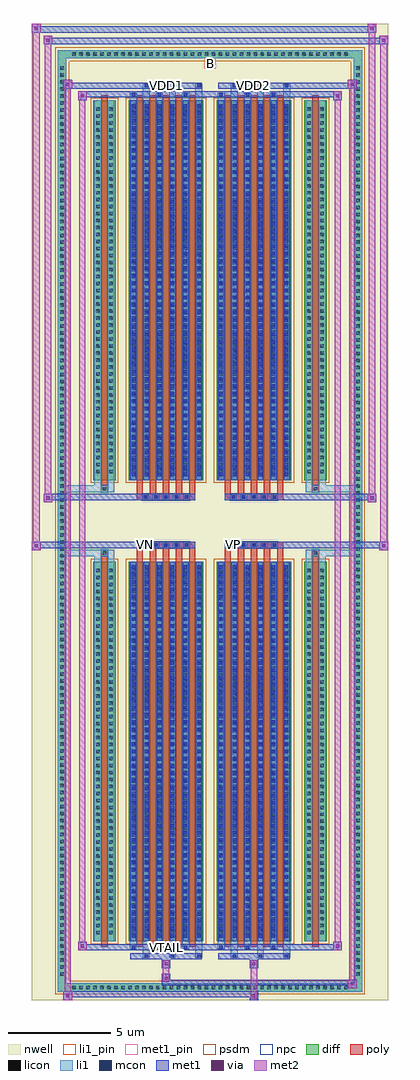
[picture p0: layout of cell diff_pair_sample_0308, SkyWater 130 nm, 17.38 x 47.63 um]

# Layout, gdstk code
import gdstk
lib = gdstk.Library(unit=1e-6, precision=5e-09)
def R(c, l, rs):  # rectangles x0, y0, x1, y1
    for r in rs: c.add(gdstk.rectangle(r[:2], r[2:], *l))
def A(c, l, x, y, w, h, nx, ny, dx, dy):  # array of equal rectangles
    R(c, l, [(x+i*dx, y+j*dy, x+i*dx+w, y+j*dy+h) for i in range(nx) for j in range(ny)])
def P(c, l, *ps):  # polygons
    for p in ps: c.add(gdstk.Polygon(p, *l))
nwell = (64, 20)
diff = (65, 20)
poly = (66, 20)
licon = (66, 44)
li1_pin = (67, 16)
li1 = (67, 20)
mcon = (67, 44)
met1_pin = (68, 16)
met1 = (68, 20)
via = (68, 44)
met2 = (69, 20)
psdm = (94, 20)
npc = (95, 20)

diff_pair_sample_0308 = lib.new_cell('diff_pair_sample_0308')
R(diff_pair_sample_0308, nwell, [(-8.69,-23.38,8.69,24.25), (-6.01,-21.57,-0.01,-0.805), (0.01,-21.57,6.01,-0.805), (-6.01,0.805,-0.01,21.57), (0.01,0.805,6.01,21.57)])
A(diff_pair_sample_0308, diff, -6.835, -22.98, 0.41, 0.41, 40, 2, 0.34, 45.55)
A(diff_pair_sample_0308, diff, -7.42, -22.305, 0.41, 0.41, 1, 131, 0, 0.34)
A(diff_pair_sample_0308, diff, 7.01, -22.305, 0.41, 0.41, 1, 131, 0, 0.34)
R(diff_pair_sample_0308, diff, [(-6.835,-22.98,6.835,-22.57), (-7.42,-22.305,-7.01,22.305), (7.01,-22.305,7.42,22.305), (-5.7,-20.525,-4.61,-1.985), (-3.97,-20.525,-0.32,-1.985), (0.32,-20.525,3.97,-1.985), (4.61,-20.525,5.7,-1.985), (-5.7,1.985,-4.61,20.525), (-3.97,1.985,-0.32,20.525), (0.32,1.985,3.97,20.525), (4.61,1.985,5.7,20.525), (-6.835,22.57,6.835,22.98)])
P(diff_pair_sample_0308, diff, [(7.42,22.98),(-7.42,22.98),(-7.42,-22.57),(-7.01,-22.57),(-7.01,22.57),(7.01,22.57),(7.01,-22.57),(-7.01,-22.57),(-7.42,-22.57),(-7.42,-22.98),(7.42,-22.98)])
A(diff_pair_sample_0308, poly, -3.58, -20.775, 0.31, 19.04, 5, 2, 0.64, 22.51)
A(diff_pair_sample_0308, poly, 0.71, -20.775, 0.31, 19.04, 5, 2, 0.64, 22.51)
A(diff_pair_sample_0308, poly, -3.58, -1.735, 0.31, 0.4, 5, 2, 0.64, 3.07)
A(diff_pair_sample_0308, poly, 0.71, -1.735, 0.31, 0.4, 5, 2, 0.64, 3.07)
A(diff_pair_sample_0308, poly, -3.31, -1.335, 0.33, 0.33, 5, 2, 0.5, 2.34)
A(diff_pair_sample_0308, poly, 0.98, -1.335, 0.33, 0.33, 5, 2, 0.5, 2.34)
R(diff_pair_sample_0308, poly, [(-5.31,-20.775,-5,-1.735), (5,-20.775,5.31,-1.735), (-5.32,-1.735,-4.99,-1.405), (-5.32,-1.735,-4.99,-1.405), (4.99,-1.735,5.32,-1.405), (4.99,-1.735,5.32,-1.405), (-3.58,-1.335,-0.71,-1.005), (0.71,-1.335,3.58,-1.005), (-3.58,1.005,-0.71,1.335), (0.71,1.005,3.58,1.335), (-5.32,1.405,-4.99,1.735), (-5.32,1.405,-4.99,1.735), (4.99,1.405,5.32,1.735), (4.99,1.405,5.32,1.735), (-5.31,1.735,-5,20.775), (5,1.735,5.31,20.775)])
A(diff_pair_sample_0308, licon, -6.715, -22.86, 0.17, 0.17, 40, 2, 0.34, 45.55)
A(diff_pair_sample_0308, licon, -7.3, -22.185, 0.17, 0.17, 1, 131, 0, 0.34)
A(diff_pair_sample_0308, licon, 7.13, -22.185, 0.17, 0.17, 1, 131, 0, 0.34)
A(diff_pair_sample_0308, licon, -5.56, -20.18, 0.17, 0.17, 1, 53, 0, 0.34)
A(diff_pair_sample_0308, licon, -4.92, -20.18, 0.17, 0.17, 1, 53, 0, 0.34)
A(diff_pair_sample_0308, licon, -3.83, -20.18, 0.17, 0.17, 6, 53, 0.64, 0.34)
A(diff_pair_sample_0308, licon, 0.46, -20.18, 0.17, 0.17, 6, 53, 0.64, 0.34)
A(diff_pair_sample_0308, licon, 4.75, -20.18, 0.17, 0.17, 1, 53, 0, 0.34)
A(diff_pair_sample_0308, licon, 5.39, -20.18, 0.17, 0.17, 1, 53, 0, 0.34)
A(diff_pair_sample_0308, licon, -3.23, -1.255, 0.17, 0.17, 5, 2, 0.5, 2.34)
A(diff_pair_sample_0308, licon, 1.06, -1.255, 0.17, 0.17, 5, 2, 0.5, 2.34)
A(diff_pair_sample_0308, licon, -5.56, 2.33, 0.17, 0.17, 1, 53, 0, 0.34)
A(diff_pair_sample_0308, licon, -4.92, 2.33, 0.17, 0.17, 1, 53, 0, 0.34)
A(diff_pair_sample_0308, licon, -3.83, 2.33, 0.17, 0.17, 6, 53, 0.64, 0.34)
A(diff_pair_sample_0308, licon, 0.46, 2.33, 0.17, 0.17, 6, 53, 0.64, 0.34)
A(diff_pair_sample_0308, licon, 4.75, 2.33, 0.17, 0.17, 1, 53, 0, 0.34)
A(diff_pair_sample_0308, licon, 5.39, 2.33, 0.17, 0.17, 1, 53, 0, 0.34)
R(diff_pair_sample_0308, licon, [(-5.24,-1.655,-5.07,-1.485), (5.07,-1.655,5.24,-1.485), (-5.24,1.485,-5.07,1.655), (5.07,1.485,5.24,1.655)])
R(diff_pair_sample_0308, li1_pin, [(-0.25,22.07,0.25,22.57)])
A(diff_pair_sample_0308, li1, -6.795, -22.94, 0.33, 0.33, 40, 2, 0.34, 45.55)
A(diff_pair_sample_0308, li1, -7.38, -22.265, 0.33, 0.33, 1, 131, 0, 0.34)
A(diff_pair_sample_0308, li1, 7.05, -22.265, 0.33, 0.33, 1, 131, 0, 0.34)
A(diff_pair_sample_0308, li1, -3.27, -21.33, 0.33, 0.805, 3, 2, 1.28, 41.855)
A(diff_pair_sample_0308, li1, -3.19, -21.33, 0.17, 0.17, 3, 2, 1.28, 42.49)
A(diff_pair_sample_0308, li1, 1.02, -21.33, 0.33, 0.805, 3, 2, 1.28, 41.855)
A(diff_pair_sample_0308, li1, 1.1, -21.33, 0.17, 0.17, 3, 2, 1.28, 42.49)
A(diff_pair_sample_0308, li1, -3.91, -20.9, 0.33, 0.375, 3, 2, 1.28, 41.425)
A(diff_pair_sample_0308, li1, -3.83, -20.9, 0.17, 0.17, 3, 2, 1.28, 41.63)
A(diff_pair_sample_0308, li1, 0.38, -20.9, 0.33, 0.375, 3, 2, 1.28, 41.425)
A(diff_pair_sample_0308, li1, 0.46, -20.9, 0.17, 0.17, 3, 2, 1.28, 41.63)
A(diff_pair_sample_0308, li1, -3.91, -20.525, 0.33, 18.54, 6, 2, 0.64, 22.51)
A(diff_pair_sample_0308, li1, 0.38, -20.525, 0.33, 18.54, 6, 2, 0.64, 22.51)
A(diff_pair_sample_0308, li1, -3.83, -20.34, 0.17, 0.17, 6, 51, 0.64, 0.36)
A(diff_pair_sample_0308, li1, -3.83, -20.34, 0.17, 18.17, 6, 2, 0.64, 22.51)
A(diff_pair_sample_0308, li1, 0.46, -20.34, 0.17, 0.17, 6, 51, 0.64, 0.36)
A(diff_pair_sample_0308, li1, 0.46, -20.34, 0.17, 18.17, 6, 2, 0.64, 22.51)
A(diff_pair_sample_0308, li1, -5.64, -20.26, 0.33, 0.33, 1, 53, 0, 0.34)
A(diff_pair_sample_0308, li1, -5, -20.26, 0.33, 0.33, 1, 53, 0, 0.34)
A(diff_pair_sample_0308, li1, -3.91, -20.26, 0.33, 0.33, 6, 53, 0.64, 0.34)
A(diff_pair_sample_0308, li1, 0.38, -20.26, 0.33, 0.33, 6, 53, 0.64, 0.34)
A(diff_pair_sample_0308, li1, 4.67, -20.26, 0.33, 0.33, 1, 53, 0, 0.34)
A(diff_pair_sample_0308, li1, 5.31, -20.26, 0.33, 0.33, 1, 53, 0, 0.34)
A(diff_pair_sample_0308, li1, -3.31, -1.335, 0.33, 0.33, 5, 2, 0.5, 2.34)
A(diff_pair_sample_0308, li1, 0.98, -1.335, 0.33, 0.33, 5, 2, 0.5, 2.34)
A(diff_pair_sample_0308, li1, -3.83, 2.17, 0.17, 0.17, 6, 51, 0.64, 0.36)
A(diff_pair_sample_0308, li1, 0.46, 2.17, 0.17, 0.17, 6, 51, 0.64, 0.36)
A(diff_pair_sample_0308, li1, -5.64, 2.25, 0.33, 0.33, 1, 53, 0, 0.34)
A(diff_pair_sample_0308, li1, -5, 2.25, 0.33, 0.33, 1, 53, 0, 0.34)
A(diff_pair_sample_0308, li1, -3.91, 2.25, 0.33, 0.33, 6, 53, 0.64, 0.34)
A(diff_pair_sample_0308, li1, 0.38, 2.25, 0.33, 0.33, 6, 53, 0.64, 0.34)
A(diff_pair_sample_0308, li1, 4.67, 2.25, 0.33, 0.33, 1, 53, 0, 0.34)
A(diff_pair_sample_0308, li1, 5.31, 2.25, 0.33, 0.33, 1, 53, 0, 0.34)
R(diff_pair_sample_0308, li1, [(-7.42,-22.98,-7.01,-22.57), (-7.42,-22.98,-7.01,-22.57), (-7.01,-22.98,7.01,-22.57), (7.01,-22.98,7.42,-22.57), (7.01,-22.98,7.42,-22.57), (-7.42,-22.57,-7.01,22.57), (7.01,-22.57,7.42,22.57), (-5.64,-20.525,-5.31,-1.985), (-5,-20.525,-4.67,-1.985), (4.67,-20.525,5,-1.985), (5.31,-20.525,5.64,-1.985), (-5.64,-1.985,-5.31,-1.405), (-5,-1.985,-4.67,-1.405), (4.67,-1.985,5,-1.405), (5.31,-1.985,5.64,-1.405), (-7.42,-1.735,-5.32,-1.405), (-5.64,-1.735,-5.32,-1.405), (-5.32,-1.735,-4.99,-1.405), (-4.99,-1.735,-4.67,-1.405), (4.67,-1.735,4.99,-1.405), (4.99,-1.735,5.32,-1.405), (4.99,-1.735,7.42,-1.405), (5.32,-1.735,5.64,-1.405), (-7.42,1.405,-5.32,1.735), (-5.64,1.405,-5.32,1.735), (-5.64,1.405,-5.31,1.985), (-5.32,1.405,-4.99,1.735), (-5,1.405,-4.67,1.985), (-4.99,1.405,-4.67,1.735), (4.67,1.405,4.99,1.735), (4.67,1.405,5,1.985), (4.99,1.405,5.32,1.735), (4.99,1.405,7.42,1.735), (5.31,1.405,5.64,1.985), (5.32,1.405,5.64,1.735), (-5.64,1.985,-5.31,20.525), (-5,1.985,-4.67,20.525), (4.67,1.985,5,20.525), (5.31,1.985,5.64,20.525), (-7.42,22.57,-7.01,22.98), (-7.42,22.57,-7.01,22.98), (-7.01,22.57,7.01,22.98), (7.01,22.57,7.42,22.98), (7.01,22.57,7.42,22.98)])
A(diff_pair_sample_0308, mcon, -3.19, -21.33, 0.17, 0.17, 3, 2, 1.28, 42.49)
A(diff_pair_sample_0308, mcon, 1.1, -21.33, 0.17, 0.17, 3, 2, 1.28, 42.49)
A(diff_pair_sample_0308, mcon, -3.83, -20.9, 0.17, 0.17, 3, 2, 1.28, 41.63)
A(diff_pair_sample_0308, mcon, 0.46, -20.9, 0.17, 0.17, 3, 2, 1.28, 41.63)
A(diff_pair_sample_0308, mcon, -3.83, -20.34, 0.17, 0.17, 6, 51, 0.64, 0.36)
A(diff_pair_sample_0308, mcon, 0.46, -20.34, 0.17, 0.17, 6, 51, 0.64, 0.36)
A(diff_pair_sample_0308, mcon, -3.23, -1.255, 0.17, 0.17, 5, 2, 0.5, 2.34)
A(diff_pair_sample_0308, mcon, 1.06, -1.255, 0.17, 0.17, 5, 2, 0.5, 2.34)
A(diff_pair_sample_0308, mcon, -3.83, 2.17, 0.17, 0.17, 6, 51, 0.64, 0.36)
A(diff_pair_sample_0308, mcon, 0.46, 2.17, 0.17, 0.17, 6, 51, 0.64, 0.36)
R(diff_pair_sample_0308, met1_pin, [(-2.28,-20.94,-2.01,-20.67), (-3.28,-1.295,-3.01,-1.025), (1.01,-1.295,1.28,-1.025), (-2.28,21.12,-2.01,21.39), (2.01,21.12,2.28,21.39)])
A(diff_pair_sample_0308, met1, -3.25, -21.39, 0.29, 0.29, 3, 2, 1.28, 42.49)
A(diff_pair_sample_0308, met1, 1.04, -21.39, 0.29, 0.29, 3, 2, 1.28, 42.49)
A(diff_pair_sample_0308, met1, -3.89, -20.96, 0.29, 0.29, 3, 2, 1.28, 41.63)
A(diff_pair_sample_0308, met1, 0.4, -20.96, 0.29, 0.29, 3, 2, 1.28, 41.63)
A(diff_pair_sample_0308, met1, -3.89, -20.525, 0.29, 18.54, 6, 2, 0.64, 22.51)
A(diff_pair_sample_0308, met1, 0.4, -20.525, 0.29, 18.54, 6, 2, 0.64, 22.51)
A(diff_pair_sample_0308, met1, -3.89, -20.4, 0.29, 0.29, 6, 51, 0.64, 0.36)
A(diff_pair_sample_0308, met1, 0.4, -20.4, 0.29, 0.29, 6, 51, 0.64, 0.36)
A(diff_pair_sample_0308, met1, -3.29, -1.315, 0.29, 0.29, 5, 2, 0.5, 2.34)
A(diff_pair_sample_0308, met1, 1, -1.315, 0.29, 0.29, 5, 2, 0.5, 2.34)
A(diff_pair_sample_0308, met1, -3.89, 2.11, 0.29, 0.29, 6, 51, 0.64, 0.36)
A(diff_pair_sample_0308, met1, 0.4, 2.11, 0.29, 0.29, 6, 51, 0.64, 0.36)
R(diff_pair_sample_0308, met1, [(-7.15,-23.38,-6.72,-22.95), (1.93,-23.38,2.36,-22.95), (-7.15,-23.24,2.36,-22.95), (6.72,-22.81,7.15,-22.38), (-2.36,-22.67,7.15,-22.38), (-2.36,-22.53,-1.93,-22.1), (-2.36,-21.82,-1.93,-21.39), (1.93,-21.82,2.36,-21.39), (-3.89,-21.39,-0.4,-21.1), (0.4,-21.39,3.89,-21.1), (-6.44,-20.96,-6.01,-20.53), (-6.44,-20.96,-3.89,-20.67), (-3.89,-20.96,-0.4,-20.67), (-0.4,-20.96,0.4,-20.67), (0.4,-20.96,3.89,-20.67), (3.89,-20.96,6.44,-20.67), (6.01,-20.96,6.44,-20.53), (-8.69,-1.435,-8.26,-1.005), (8.26,-1.435,8.69,-1.005), (-8.69,-1.335,-0.71,-1.005), (-3.58,-1.335,-0.71,-1.005), (0.71,-1.335,3.58,-1.005), (0.71,-1.335,8.69,-1.005), (-8.12,0.905,-7.69,1.335), (7.69,0.905,8.12,1.335), (-8.12,1.005,-3.58,1.335), (-3.58,1.005,-0.71,1.335), (0.71,1.005,3.58,1.335), (3.58,1.005,8.12,1.335), (-6.44,20.53,-6.01,20.96), (6.01,20.53,6.44,20.96), (-6.44,20.67,-3.89,20.96), (-3.89,20.67,-0.4,20.96), (-0.4,20.67,0.4,20.96), (0.4,20.67,3.89,20.96), (3.89,20.67,6.44,20.96), (-7.15,21.1,-6.72,21.53), (-7.15,21.1,-3.89,21.39), (-3.89,21.1,-0.4,21.39), (0.4,21.1,3.89,21.39), (3.89,21.1,7.15,21.39), (6.72,21.1,7.15,21.53), (-8.12,23.25,-7.69,23.68), (-8.12,23.25,-6.01,23.58), (-6.01,23.25,6.01,23.58), (6.01,23.25,8.69,23.58), (8.26,23.25,8.69,23.68), (-8.69,23.82,-8.26,24.25), (-8.69,23.82,-6.01,24.15), (-6.01,23.82,6.01,24.15), (6.01,23.82,8.12,24.15), (7.69,23.82,8.12,24.25)])
R(diff_pair_sample_0308, via, [(-7.01,-23.24,-6.86,-23.09), (2.07,-23.24,2.22,-23.09), (6.86,-22.67,7.01,-22.52), (-2.22,-22.39,-2.07,-22.24), (-2.22,-21.68,-2.07,-21.53), (2.07,-21.68,2.22,-21.53), (-6.3,-20.82,-6.15,-20.67), (6.15,-20.82,6.3,-20.67), (-8.55,-1.295,-8.4,-1.145), (8.4,-1.295,8.55,-1.145), (-7.98,1.045,-7.83,1.195), (7.83,1.045,7.98,1.195), (-6.3,20.67,-6.15,20.82), (6.15,20.67,6.3,20.82), (-7.01,21.24,-6.86,21.39), (6.86,21.24,7.01,21.39), (-7.98,23.39,-7.83,23.54), (8.4,23.39,8.55,23.54), (-8.55,23.96,-8.4,24.11), (7.83,23.96,7.98,24.11)])
R(diff_pair_sample_0308, met2, [(-7.15,-23.38,-6.72,-22.95), (-7.08,-23.38,-6.79,21.53), (-6.79,-23.38,-6.72,-22.95), (-7.1,-23.33,-6.77,-23), (1.98,-23.33,2.31,-23), (1.98,-23,2.31,-21.77), (6.72,-22.81,7.15,-22.38), (6.79,-22.81,7.08,21.53), (7.08,-22.81,7.15,-22.38), (6.77,-22.76,7.1,-22.43), (-2.31,-22.48,-1.98,-22.15), (-2.31,-22.15,-1.98,-21.77), (-2.31,-21.77,-1.98,-21.44), (1.98,-21.77,2.31,-21.44), (-6.44,-20.96,-6.01,-20.53), (-6.37,-20.96,-6.08,20.96), (-6.08,-20.96,-6.01,-20.53), (6.01,-20.96,6.44,-20.53), (6.08,-20.96,6.37,20.96), (6.37,-20.96,6.44,-20.53), (-6.39,-20.91,-6.06,-20.58), (6.06,-20.91,6.39,-20.58), (-8.69,-1.435,-8.26,-1.005), (-8.64,-1.435,-8.31,24.25), (-8.31,-1.435,-8.26,-1.005), (8.26,-1.435,8.69,-1.005), (8.31,-1.435,8.64,23.68), (8.64,-1.435,8.69,-1.005), (-8.64,-1.385,-8.31,-1.055), (8.31,-1.385,8.64,-1.055), (-8.12,0.905,-7.69,1.335), (-8.07,0.905,-7.74,23.68), (-7.74,0.905,-7.69,1.335), (7.69,0.905,8.12,1.335), (7.74,0.905,8.07,24.25), (8.07,0.905,8.12,1.335), (-8.07,0.955,-7.74,1.285), (7.74,0.955,8.07,1.285), (-6.44,20.53,-6.01,20.96), (-6.08,20.53,-6.01,20.96), (6.01,20.53,6.44,20.96), (6.37,20.53,6.44,20.96), (-6.39,20.58,-6.06,20.91), (6.06,20.58,6.39,20.91), (-7.15,21.1,-6.72,21.53), (-6.79,21.1,-6.72,21.53), (6.72,21.1,7.15,21.53), (7.08,21.1,7.15,21.53), (-7.1,21.15,-6.77,21.48), (6.77,21.15,7.1,21.48), (-8.12,23.25,-7.69,23.68), (-7.74,23.25,-7.69,23.68), (8.26,23.25,8.69,23.68), (8.64,23.25,8.69,23.68), (-8.07,23.3,-7.74,23.63), (8.31,23.3,8.64,23.63), (-8.69,23.82,-8.26,24.25), (-8.31,23.82,-8.26,24.25), (7.69,23.82,8.12,24.25), (8.07,23.82,8.12,24.25), (-8.64,23.87,-8.31,24.2), (7.74,23.87,8.07,24.2)])
R(diff_pair_sample_0308, psdm, [(-5.83,-20.655,-4.48,-1.855), (-4.1,-20.655,-0.19,-1.855), (0.19,-20.655,4.1,-1.855), (4.48,-20.655,5.83,-1.855), (-5.83,1.855,-4.48,20.655), (-4.1,1.855,-0.19,20.655), (0.19,1.855,4.1,20.655), (4.48,1.855,5.83,20.655)])
P(diff_pair_sample_0308, psdm, [(7.55,23.11),(-7.55,23.11),(-7.55,-22.44),(-6.88,-22.44),(-6.88,22.44),(6.88,22.44),(6.88,-22.44),(-6.88,-22.44),(-7.55,-22.44),(-7.55,-23.11),(7.55,-23.11)])
A(diff_pair_sample_0308, npc, -3.33, -1.355, 0.37, 0.37, 5, 2, 0.5, 2.34)
A(diff_pair_sample_0308, npc, 0.96, -1.355, 0.37, 0.37, 5, 2, 0.5, 2.34)
R(diff_pair_sample_0308, npc, [(-5.34,-1.755,-4.97,-1.385), (4.97,-1.755,5.34,-1.385), (-3.33,-1.355,-2.46,-0.985), (-3.33,-1.355,-2.46,-0.985), (-2.83,-1.355,-1.96,-0.985), (-2.83,-1.355,-1.96,-0.985), (-2.33,-1.355,-1.46,-0.985), (-2.33,-1.355,-1.46,-0.985), (-1.83,-1.355,-0.96,-0.985), (-1.83,-1.355,-0.96,-0.985), (0.96,-1.355,1.83,-0.985), (0.96,-1.355,1.83,-0.985), (1.46,-1.355,2.33,-0.985), (1.46,-1.355,2.33,-0.985), (1.96,-1.355,2.83,-0.985), (1.96,-1.355,2.83,-0.985), (2.46,-1.355,3.33,-0.985), (2.46,-1.355,3.33,-0.985), (-3.33,0.985,-2.46,1.355), (-3.33,0.985,-2.46,1.355), (-2.83,0.985,-1.96,1.355), (-2.83,0.985,-1.96,1.355), (-2.33,0.985,-1.46,1.355), (-2.33,0.985,-1.46,1.355), (-1.83,0.985,-0.96,1.355), (-1.83,0.985,-0.96,1.355), (0.96,0.985,1.83,1.355), (0.96,0.985,1.83,1.355), (1.46,0.985,2.33,1.355), (1.46,0.985,2.33,1.355), (1.96,0.985,2.83,1.355), (1.96,0.985,2.83,1.355), (2.46,0.985,3.33,1.355), (2.46,0.985,3.33,1.355), (-5.34,1.385,-4.97,1.755), (4.97,1.385,5.34,1.755)])
diff_pair_sample_0308.add(gdstk.Label('VTAIL', (-2.145,-20.805), layer=68, texttype=5))
diff_pair_sample_0308.add(gdstk.Label('VN', (-3.145,-1.16), layer=68, texttype=5))
diff_pair_sample_0308.add(gdstk.Label('VP', (1.145,-1.16), layer=68, texttype=5))
diff_pair_sample_0308.add(gdstk.Label('B', (0,22.32), layer=67, texttype=5))
diff_pair_sample_0308.add(gdstk.Label('VDD2', (2.145,21.255), layer=68, texttype=5))
diff_pair_sample_0308.add(gdstk.Label('VDD1', (-2.145,21.255), layer=68, texttype=5))

lib.write_gds('diff_pair_sample_0308.gds')
